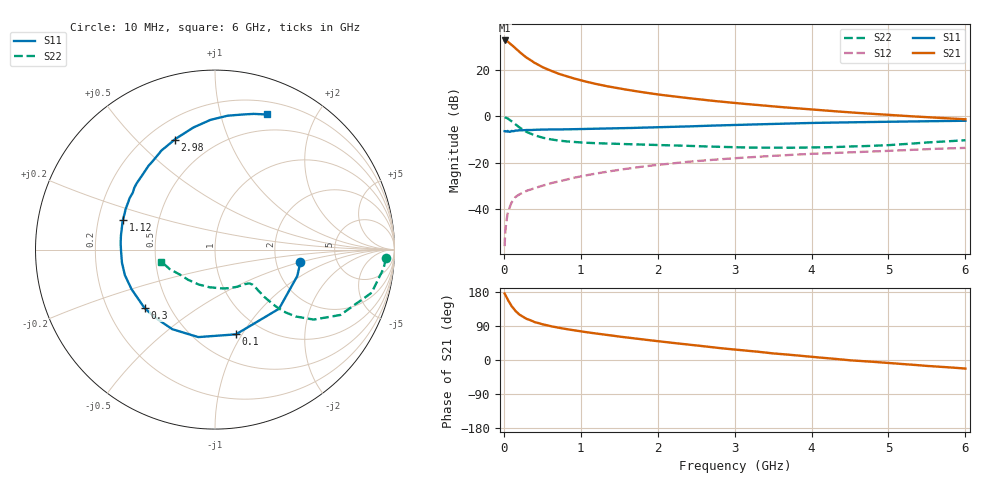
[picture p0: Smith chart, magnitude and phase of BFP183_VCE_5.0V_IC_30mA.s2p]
! Infineon Technologies  Discrete & RF Semiconductors
! BFP183
! VCE = 5.0 V,  IC =  30 mA
! Common Emitter S-Parameters:  Jan 2016
# GHz  S  MA  R  50
!  f  S11  S21  S12  S22
! GHz  MAG  ANG  MAG  ANG  MAG  ANG  MAG  ANG
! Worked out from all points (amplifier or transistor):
!   210 points, 10 MHz to 6 GHz, reference 50 ohm
!   highest |S21| = 32.7 dB at 10 MHz (marker M1)
!   |S21| within 3 dB of that: start of sweep to 138.3 MHz
!   unconditionally stable (mu >= 1): 692.6 MHz to 5.762 GHz
!   at 185 MHz: K = 0.45, MSG = 31.2 dB, |S12| = -34.0 dB
!   at 1.52 GHz: K = 1.15, MAG = 15.1 dB, |S12| = -22.9 dB
!   at 6 GHz: K = 0.97, MSG = 6.2 dB, |S12| = -13.6 dB
!   S11 on the Smith chart (normalised r, x): 10 MHz: 2.74, -0.51; 100 MHz: 0.76, -0.94; 300 MHz: 0.36, -0.32; 1.12 GHz: 0.31, +0.14; 2.98 GHz: 0.31, +0.65; 6 GHz: 0.33, +1.40
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0.01  0.4807 -8.5  43.26 175.4  0.0016 85.7  0.9533 -2.9
0.02  0.4816 -17.8  43.17 171.4  0.0034 84.2  0.9454 -6.3
0.05  0.4857 -42.7  41.06 159.0  0.0081 78.2  0.9049 -15.4
0.1  0.4863 -76.1  35.08 142.1  0.0139 62.8  0.7881 -27.5
0.15  0.4963 -100.8  29.46 129.4  0.0183 56.6  0.6748 -35.3
0.2  0.5032 -118.2  24.81 120.2  0.0208 54.5  0.5835 -39.7
0.24  0.5021 -128.4  21.78 114.9  0.0225 52.4  0.5276 -41.6
0.26  0.5044 -132.8  20.48 112.4  0.0233 51.8  0.5029 -42.3
0.3  0.5101 -140.3  18.25 108.2  0.0251 51.6  0.4596 -43.1
0.4  0.5146 -154.6  14.26 100.0  0.0283 51.8  0.3907 -43.8
0.5  0.522 -164.2  11.57 94.3  0.0321 52.1  0.3488 -43.6
0.6  0.5235 -172.1  9.816 89.5  0.0359 53.7  0.3215 -43.2
0.7  0.5234 -178.4  8.414 85.5  0.0392 54.8  0.3033 -42.9
1.02  0.5337 166.0  5.862 75.0  0.0515 56.7  0.2732 -43.9
1.12  0.539 162.0  5.357 72.0  0.0557 56.7  0.2679 -44.7
1.5  0.5554 149.0  4.004 61.8  0.0707 55.3  0.2547 -49.1
2.02  0.5829 133.0  2.945 49.3  0.0909 51.5  0.242 -58.5
2.98  0.653 110.1  1.962 27.9  0.1249 43.1  0.2172 -82.5
3.1  0.6604 107.7  1.882 25.7  0.1287 41.9  0.2146 -86.1
4.1  0.7275 90.5  1.369 6.6  0.1586 32.5  0.2152 -118.4
5.1  0.77 77.9  1.051 -9.3  0.1839 24.7  0.2461 -147.3
6  0.8059 69.1  0.867 -22.6  0.2098 16.4  0.3069 -167.3
